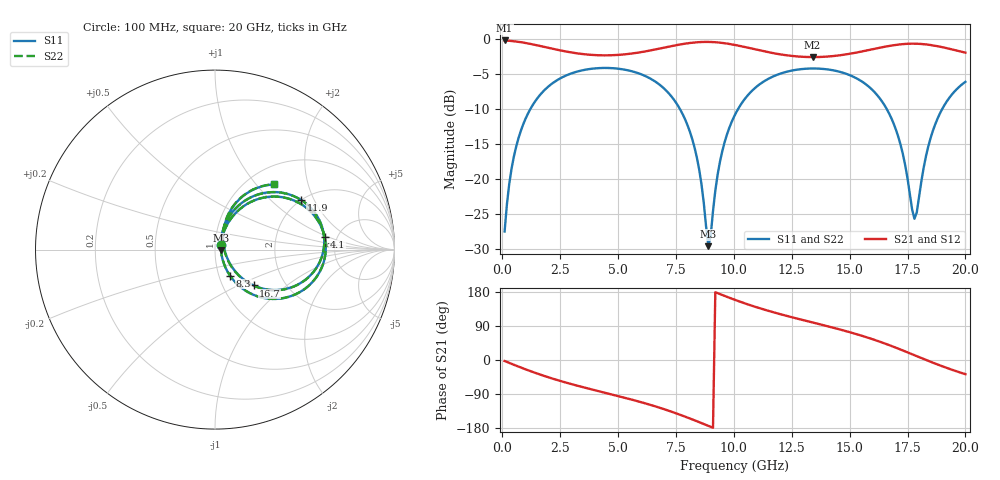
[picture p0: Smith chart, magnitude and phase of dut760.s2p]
! Touchstone file exported from HFSS 2026.1.0
!  File:  C:/ffzhzh/LocalFiles/Ansys_Project_Files/temp_train_TSV_RDL_760_1783259975_38704.aedt
!  Generated:  10:12:20 PM Jul  5, 2026
!  Design:  TSV_RDL
!  Project:  temp_train_TSV_RDL_760_1783259975_38704
! Variables:
!  h_bsmrdl = 4.75um
!  h_ox = 20um
!  h_rdl = 5um
!  h_sub = 75.08um
!  h_tmrdl = 4.07um
!  h_tsv = 75.08um
!  h_via = 3um
!  l_bsmrdl = 843.67um
!  l_sub = 6578.8um
!  l_tmrdl = 884.7um
!  m_sub = 200um
!  pitch = 58.4um
!  r_tsv = 14.12um
!  s_tmrdl = 10um
!  w_bsmrdl = 21.94um
!  w_sub = 500um
!  w_tmrdl = 14.39um
!  x_tsv_center1 = 891.895um
!  x_tsv_center2 = 1757.505um
!  x_tsv_center3 = 2656.595um
!  x_tsv_center4 = 3522.205um
!  x_tsv_center5 = 4421.295um
!  x_tsv_center6 = 5286.905um
# GHz S MA R 50.000000
! Terminal data exported
! Port[1] = TM_RDL1_1_T1
! Port[2] = TM_RDL5_1_T1
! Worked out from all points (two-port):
!   200 points, 100 MHz to 20 GHz, reference 50 ohm
!   highest |S21| = -0.27 dB at 100 MHz (marker M1); lowest = -2.6 dB at 13.4 GHz (marker M2)
!   |S21| within 3 dB of the highest: start of sweep to end of sweep
!   lowest |S11| = -29.6 dB at 8.9 GHz (marker M3), VSWR 1.07, Z = 53.4 - j0.284 ohm
!   |S11| at or under -10 dB: start of sweep to 1.222 GHz; 7.661 GHz to 10.19 GHz (2.531 GHz wide, 28.4 % of centre); 16.59 GHz to 19.01 GHz (2.413 GHz wide, 13.6 % of centre)
!   |S22| runs from -29.6 to -4.2 dB; largest |S21 - S12| = 1e-14
!   S11 on the Smith chart (normalised r, x): 100 MHz: 1.06, +0.06; 4.1 GHz: 3.96, +0.92; 8.3 GHz: 1.13, -0.34; 11.9 GHz: 2.00, +1.60; 16.7 GHz: 1.39, -0.61; 20 GHz: 1.31, +1.25
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0.1  0.04206 41.9  0.9696 -2.6  0.9696 -2.6  0.04206 41.9
! Gamma 0 0 0 0
! Port Impedance 50 0 50 0
0.5  0.144 64.2  0.9572 -12.6  0.9572 -12.6  0.144 64.2
1.1  0.2898 56.6  0.9241 -26.8  0.9241 -26.8  0.2898 56.6
2.2  0.4842 36.7  0.8437 -49.7  0.8437 -49.7  0.4842 36.7
3.5  0.5959 15.7  0.7745 -72.0  0.7745 -72.0  0.5959 15.7
4.1  0.6145 6.8  0.7611 -81.3  0.7611 -81.3  0.6145 6.8
5.4  0.595 -12.4  0.7752 -101.4  0.7752 -101.4  0.595 -12.4
6.8  0.4678 -35.2  0.8489 -126.0  0.8489 -126.0  0.4678 -35.2
7.7  0.3083 -51.5  0.9089 -145.0  0.9089 -145.0  0.3083 -51.5
8.3  0.1677 -60.0  0.9378 -159.1  0.9378 -159.1  0.1677 -60.0
8.6  0.09201 -57.6  0.9452 -166.4  0.9452 -166.4  0.09205 -57.5
8.9  0.03304 -4.6  0.9466 -173.8  0.9466 -173.8  0.03324 -4.5
9.4  0.1322 68.3  0.9354 173.9  0.9354 173.9  0.1323 68.2
10.1  0.297 60.4  0.897 157.6  0.897 157.6  0.297 60.4
11.9  0.5541 29.9  0.7768 122.7  0.7768 122.7  0.5542 29.8
13.4  0.6118 8.0  0.7377 99.0  0.7377 99.0  0.6118 7.9
15.4  0.5095 -21.7  0.801 66.4  0.801 66.4  0.5095 -21.8
16.7  0.2934 -42.8  0.8856 39.5  0.8856 39.5  0.2932 -43.2
17.3  0.1499 -46.5  0.913 25.2  0.913 25.2  0.1493 -47.2
17.8  0.05182 8.1  0.9195 12.7  0.9195 12.7  0.04994 7.9
18.7  0.2453 67.9  0.8882 -9.5  0.8882 -9.5  0.2449 68.3
20  0.4914 47.6  0.7936 -37.4  0.7936 -37.4  0.4912 47.8
